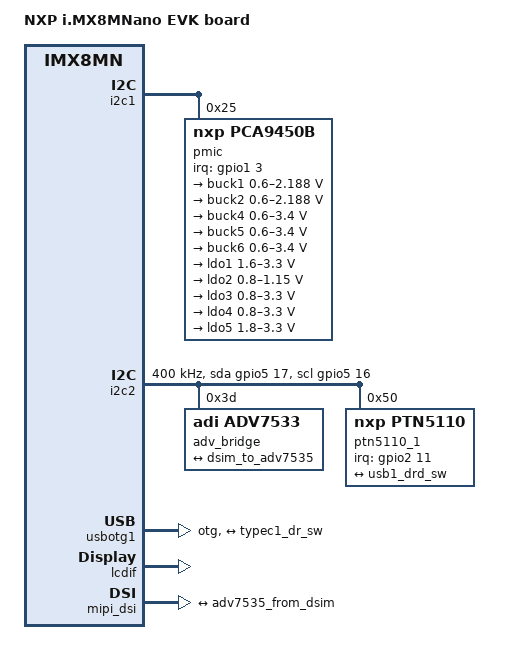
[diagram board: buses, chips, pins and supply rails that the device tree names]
// SPDX-License-Identifier: (GPL-2.0+ OR MIT)
/*
 * Copyright 2019 NXP
 */

/dts-v1/;

#include <dt-bindings/usb/pd.h>
#include "imx8mn.dtsi"
#include "imx8mn-evk.dtsi"
#include <dt-bindings/interrupt-controller/irq.h>

/ {
	model = "NXP i.MX8MNano EVK board";
	compatible = "fsl,imx8mn-evk", "fsl,imx8mn";
};

&i2c1 {
	pmic: pmic@25 {
		compatible = "nxp,pca9450b";
		reg = <0x25>;
		pinctrl-names = "default";
		pinctrl-0 = <&pinctrl_pmic>;
		interrupt-parent = <&gpio1>;
		interrupts = <3 IRQ_TYPE_LEVEL_LOW>;

		regulators {
			buck1: BUCK1{
				regulator-name = "BUCK1";
				regulator-min-microvolt = <600000>;
				regulator-max-microvolt = <2187500>;
				regulator-boot-on;
				regulator-always-on;
				regulator-ramp-delay = <3125>;
			};

			buck2: BUCK2 {
				regulator-name = "BUCK2";
				regulator-min-microvolt = <600000>;
				regulator-max-microvolt = <2187500>;
				regulator-boot-on;
				regulator-always-on;
				regulator-ramp-delay = <3125>;
				nxp,dvs-run-voltage = <950000>;
				nxp,dvs-standby-voltage = <850000>;
			};

			buck4: BUCK4{
				regulator-name = "BUCK4";
				regulator-min-microvolt = <600000>;
				regulator-max-microvolt = <3400000>;
				regulator-boot-on;
				regulator-always-on;
			};

			buck5: BUCK5{
				regulator-name = "BUCK5";
				regulator-min-microvolt = <600000>;
				regulator-max-microvolt = <3400000>;
				regulator-boot-on;
				regulator-always-on;
			};

			buck6: BUCK6 {
				regulator-name = "BUCK6";
				regulator-min-microvolt = <600000>;
				regulator-max-microvolt = <3400000>;
				regulator-boot-on;
				regulator-always-on;
			};

			ldo1: LDO1 {
				regulator-name = "LDO1";
				regulator-min-microvolt = <1600000>;
				regulator-max-microvolt = <3300000>;
				regulator-boot-on;
				regulator-always-on;
			};

			ldo2: LDO2 {
				regulator-name = "LDO2";
				regulator-min-microvolt = <800000>;
				regulator-max-microvolt = <1150000>;
				regulator-boot-on;
				regulator-always-on;
			};

			ldo3: LDO3 {
				regulator-name = "LDO3";
				regulator-min-microvolt = <800000>;
				regulator-max-microvolt = <3300000>;
				regulator-boot-on;
				regulator-always-on;
			};

			ldo4: LDO4 {
				regulator-name = "LDO4";
				regulator-min-microvolt = <800000>;
				regulator-max-microvolt = <3300000>;
				regulator-boot-on;
				regulator-always-on;
			};

			ldo5: LDO5 {
				regulator-name = "LDO5";
				regulator-min-microvolt = <1800000>;
				regulator-max-microvolt = <3300000>;
				regulator-boot-on;
				regulator-always-on;
			};
		};
	};
};

&i2c2 {
        clock-frequency = <400000>;
        pinctrl-names = "default", "gpio";
        pinctrl-0 = <&pinctrl_i2c2>;
        pinctrl-1 = <&pinctrl_i2c2_gpio>;
        scl-gpios = <&gpio5 16 GPIO_ACTIVE_HIGH>;
        sda-gpios = <&gpio5 17 GPIO_ACTIVE_HIGH>;
        status = "okay";

        adv_bridge: adv7535@3d {
                compatible = "adi,adv7533";
                reg = <0x3d>;
                adi,addr-cec = <0x3b>;
                adi,dsi-lanes = <4>;
                status = "okay";

                port {
                        adv7535_from_dsim: endpoint {
                                remote-endpoint = <&dsim_to_adv7535>;
                        };
                };
        };

        ptn5110_1: tcpc@50 {
                compatible = "nxp,ptn5110";
                pinctrl-names = "default";
                pinctrl-0 = <&pinctrl_typec1>;
                reg = <0x50>;
                interrupt-parent = <&gpio2>;
                interrupts = <11 8>;
                status = "okay";

                port {
                        typec1_dr_sw: endpoint {
                                remote-endpoint = <&usb1_drd_sw>;
                        };
                };

                typec1_con: connector {
                        compatible = "usb-c-connector";
                        label = "USB-C";
                        power-role = "dual";
                        data-role = "dual";
                        try-power-role = "sink";
                        source-pdos = <PDO_FIXED(5000, 3000, PDO_FIXED_USB_COMM)>;
                        sink-pdos = <PDO_FIXED(5000, 3000, PDO_FIXED_USB_COMM)
                                     PDO_VAR(5000, 20000, 3000)>;
                        op-sink-microwatt = <15000000>;
                        self-powered;
                };
        };
};

&usbotg1 {
        picophy,pre-emp-curr-control = <3>;
        picophy,dc-vol-level-adjust = <7>;
        dr_mode = "otg";
        hnp-disable;
        srp-disable;
        adp-disable;
        usb-role-switch;
        status = "okay";

        port {
                usb1_drd_sw: endpoint {
                        remote-endpoint = <&typec1_dr_sw>;
                };
        };
};

&lcdif {
       status = "okay";
};

&mipi_dsi {
       status = "okay";

       port@1 {
               dsim_to_adv7535: endpoint {
                       remote-endpoint = <&adv7535_from_dsim>;
			attach-bridge;
               };
       };
};

&A53_0 {
	/delete-property/operating-points-v2;
};

&A53_1 {
	/delete-property/operating-points-v2;
};

&A53_2 {
	/delete-property/operating-points-v2;
};

&A53_3 {
	/delete-property/operating-points-v2;
};
